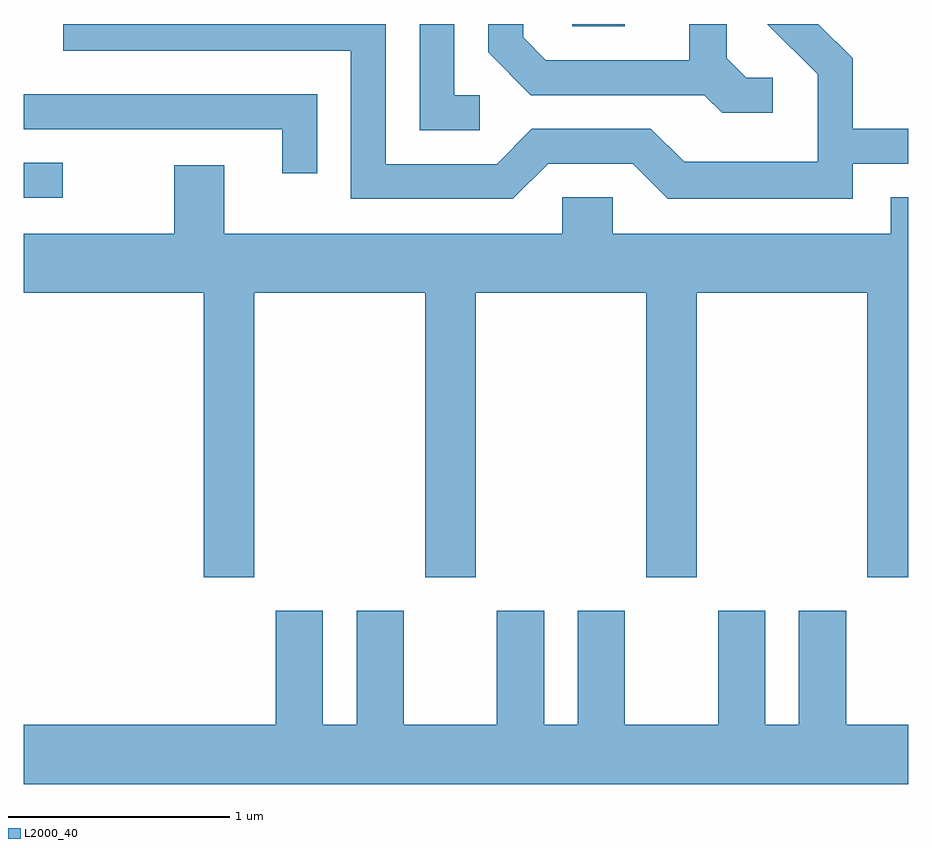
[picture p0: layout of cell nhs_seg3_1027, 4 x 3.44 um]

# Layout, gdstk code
import gdstk
lib = gdstk.Library(unit=1e-6, precision=1e-09)
def R(c, l, rs):  # rectangles x0, y0, x1, y1
    for r in rs: c.add(gdstk.rectangle(r[:2], r[2:], *l))
def P(c, l, *ps):  # polygons
    for p in ps: c.add(gdstk.Polygon(p, *l))
L2000_40 = (2000, 40)

nhs_seg3_1027 = lib.new_cell('nhs_seg3_1027')
R(nhs_seg3_1027, L2000_40, [(215.611,1133.106,215.788,1133.264), (218.091,1133.881,218.329,1133.892)])
P(nhs_seg3_1027, L2000_40, [(217.982,1133.261),(218.364,1133.261),(218.524,1133.101),(219.359,1133.101),(219.359,1133.261),(219.611,1133.261),(219.611,1133.419),(219.359,1133.419),(219.359,1133.737),(219.204,1133.892),(218.973,1133.892),(219.201,1133.664),(219.201,1133.269),(218.597,1133.269),(218.447,1133.419),(217.909,1133.419),(217.749,1133.259),(217.249,1133.259),(217.249,1133.892),(215.791,1133.892),(215.791,1133.771),(217.091,1133.771),(217.091,1133.101),(217.822,1133.101)],
  [(217.673,1133.569),(217.559,1133.569),(217.559,1133.892),(217.401,1133.892),(217.401,1133.411),(217.673,1133.411)],
  [(218.998,1133.649),(218.877,1133.649),(218.789,1133.737),(218.789,1133.892),(218.621,1133.892),(218.621,1133.729),(217.972,1133.729),(217.869,1133.832),(217.869,1133.892),(217.711,1133.892),(217.711,1133.764),(217.904,1133.571),(218.689,1133.571),(218.769,1133.491),(218.998,1133.491)],
  [(216.939,1133.574),(215.611,1133.574),(215.611,1133.416),(216.781,1133.416),(216.781,1133.218),(216.939,1133.218)],
  [(216.654,1132.676),(217.426,1132.676),(217.426,1131.391),(217.654,1131.391),(217.654,1132.676),(218.426,1132.676),(218.426,1131.391),(218.654,1131.391),(218.654,1132.676),(219.426,1132.676),(219.426,1131.391),(219.611,1131.391),(219.611,1133.109),(219.531,1133.109),(219.531,1132.944),(218.274,1132.944),(218.274,1133.109),(218.046,1133.109),(218.046,1132.944),(216.519,1132.944),(216.519,1133.254),(216.291,1133.254),(216.291,1132.944),(215.611,1132.944),(215.611,1132.676),(216.426,1132.676),(216.426,1131.391),(216.654,1131.391)],
  [(219.611,1130.724),(219.329,1130.724),(219.329,1131.239),(219.116,1131.239),(219.116,1130.724),(218.964,1130.724),(218.964,1131.239),(218.751,1131.239),(218.751,1130.724),(218.329,1130.724),(218.329,1131.239),(218.116,1131.239),(218.116,1130.724),(217.964,1130.724),(217.964,1131.239),(217.751,1131.239),(217.751,1130.724),(217.329,1130.724),(217.329,1131.239),(217.116,1131.239),(217.116,1130.724),(216.964,1130.724),(216.964,1131.239),(216.751,1131.239),(216.751,1130.724),(215.611,1130.724),(215.611,1130.456),(219.611,1130.456)])

lib.write_gds('nhs_seg3_1027.gds')
